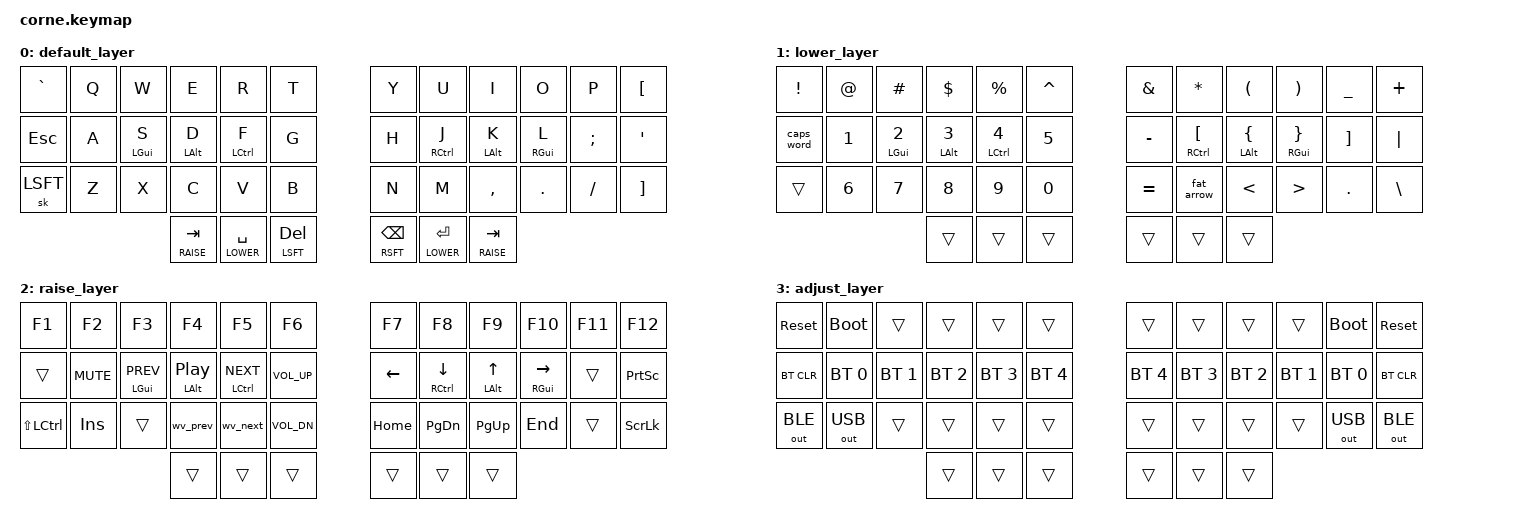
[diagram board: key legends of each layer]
/*
 * Copyright (c) 2020 The ZMK Contributors
 *
 * SPDX-License-Identifier: MIT
 */

#include <behaviors.dtsi>
#include <dt-bindings/zmk/keys.h>
#include <dt-bindings/zmk/bt.h>
#include <dt-bindings/zmk/outputs.h>

// Layers
#define DEFAULT 0
#define LOWER   1
#define RAISE   2
#define ADJUST  3

&mt {
        quick-tap-ms = <200>;
};

&lt {
        flavor = "hold-preferred";
};

&sk {
    release-after-ms = <500>;
    quick-release;
};

&caps_word {
        continue-list = <UNDERSCORE MINUS BACKSPACE DELETE SEMICOLON>; // semicolon to support colemak
};

/ {
        behaviors {
                hml: homerow_mods_left {
                        compatible = "zmk,behavior-hold-tap";
                        label = "LEFT_HOMEROW_MODS";
                        #binding-cells = <2>;
                        tapping-term-ms = <150>;
                        quick-tap-ms = <125>;
                        global-quick-tap;
                        flavor = "balanced";
                        bindings = <&kp>, <&kp>;
                        hold-trigger-key-positions = <6 7 8 9 10 11 18 19 20 21 22 23 30 31 32 33 34 35 36 37 38 39 40 41>;
                };
                hmr: homerow_mods_right {
                        compatible = "zmk,behavior-hold-tap";
                        label = "RIGHT_HOMEROW_MODS";
                        #binding-cells = <2>;
                        tapping-term-ms = <150>;
                        quick-tap-ms = <125>;
                        global-quick-tap;
                        flavor = "balanced";
                        bindings = <&kp>, <&kp>;
                        hold-trigger-key-positions = <0 1 2 3 4 5 12 13 14 15 16 17 24 25 26 27 28 29 36 37 38 39 40 41>;
                };
                th: thumb_hold_tap {
                        compatible = "zmk,behavior-hold-tap";
                        label = "THUMB_LAYER_TAPS";
                        #binding-cells = <2>;
                        tapping-term-ms = <200>;
                        quick-tap-ms = <200>;
                        flavor = "hold-preferred";
                        bindings = <&mo>, <&kp>;
                };
        };

        conditional_layers {
                compatible = "zmk,conditional-layers";
                tri_layer {
                        if-layers = <1 2>;
                        then-layer = <3>;
                };
        };

        macros {
                ZMK_MACRO(wv_next, bindings = <&macro_press &kp LCTL &kp LGUI>, <&macro_tap &kp RIGHT>, <&macro_release &kp LCTL &kp LGUI>;)
                ZMK_MACRO(wv_prev, bindings = <&macro_press &kp LCTL &kp LGUI>, <&macro_tap &kp LEFT>, <&macro_release &kp LCTL &kp LGUI>;)
                ZMK_MACRO(mv_next, bindings = <&macro_press &kp LGUI>, <&macro_tap &kp RIGHT>, <&macro_release &kp LGUI>;)
                ZMK_MACRO(mv_prev, bindings = <&macro_press &kp LGUI>, <&macro_tap &kp LEFT>, <&macro_release &kp LGUI>;)
                ZMK_MACRO(fat_arrow, bindings = <&kp EQUAL &kp GT>;)
        };

        keymap {
                compatible = "zmk,keymap";

                default_layer {
// -----------------------------------------------------------------------------------------
                        bindings = <
   &kp GRAVE    &kp Q   &kp W           &kp E           &kp R           &kp T           &kp Y           &kp U           &kp I           &kp O           &kp P           &kp LBKT
   &kp ESC      &kp A   &hml LGUI S     &hml LALT D     &hml LCTL F     &kp G           &kp H           &hmr RCTL J     &hmr LALT K     &hmr RGUI L     &kp SEMI        &kp SQT
   &sk LSFT     &kp Z   &kp X           &kp C           &kp V           &kp B           &kp N           &kp M           &kp COMMA       &kp DOT         &kp FSLH        &kp RBKT
                                        &th RAISE TAB   &lt LOWER SPACE &mt LSFT DEL    &mt RSFT BSPC   &lt LOWER RET   &th RAISE TAB
                        >;
                };

                lower_layer {
// -----------------------------------------------------------------------------------------
                        bindings = <
   &kp EXCL     &kp AT  &kp HASH        &kp DLLR        &kp PRCNT       &kp CARET       &kp AMPS        &kp STAR        &kp LPAR        &kp RPAR        &kp UNDER       &kp PLUS
   &caps_word   &kp N1  &hml LGUI N2    &hml LALT N3    &hml LCTL N4    &kp N5          &kp MINUS       &hmr RCTL LBKT  &hmr LALT LBRC  &hmr RGUI RBRC  &kp RBKT        &kp PIPE
   &trans       &kp N6  &kp N7          &kp N8          &kp N9          &kp N0          &kp EQUAL       &fat_arrow      &kp LT          &kp GT          &kp DOT         &kp BSLH
                                        &trans          &trans          &trans          &trans          &trans          &trans
                        >;
                };

                raise_layer {
// -----------------------------------------------------------------------------------------
                        bindings = <
   &kp F1               &kp F2          &kp F3          &kp F4          &kp F5          &kp F6          &kp F7          &kp F8          &kp F9          &kp F10         &kp F11 &kp F12
   &trans               &kp C_MUTE      &hml LGUI C_PREV &hml LALT C_PP &hml LCTL C_NEXT &kp C_VOL_UP   &kp LEFT        &hmr RCTL DOWN  &hmr LALT UP    &hmr RGUI RIGHT &trans  &kp PSCRN
   &kp LS(LCTRL)        &kp INS         &trans          &wv_prev        &wv_next        &kp C_VOL_DN    &kp HOME        &kp PG_DN       &kp PG_UP       &kp END         &trans  &kp SLCK
                          	                        &trans          &trans          &trans          &trans          &trans          &trans
                        >;
                };
                
                adjust_layer {
// -----------------------------------------------------------------------------------------
                        bindings = <
   &sys_reset   &bootloader     &trans          &trans          &trans          &trans          &trans          &trans          &trans          &trans          &bootloader     &sys_reset
   &bt BT_CLR   &bt BT_SEL 0    &bt BT_SEL 1    &bt BT_SEL 2    &bt BT_SEL 3    &bt BT_SEL 4    &bt BT_SEL 4    &bt BT_SEL 3    &bt BT_SEL 2    &bt BT_SEL 1    &bt BT_SEL 0    &bt BT_CLR
   &out OUT_BLE &out OUT_USB    &trans          &trans          &trans          &trans          &trans          &trans          &trans          &trans          &out OUT_USB    &out OUT_BLE
                          	                &trans          &trans          &trans          &trans          &trans          &trans
                        >;
                };
        };
};
